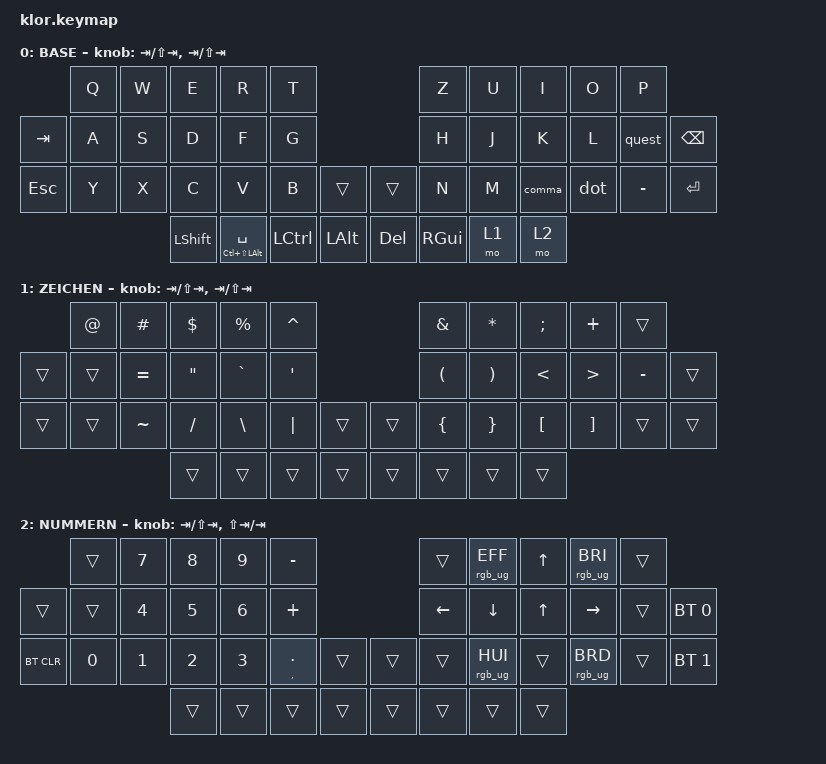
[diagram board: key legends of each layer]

//                               █         █    █            ▄▄▄▀▀▀▀▀▀▄▄▄        █▀▀▀▀▀▀▀▀▀▀█
//                               █        █     █          ▄▀            ▀▄      █          █
//                               █       █      █        ▄▀                ▀▄    █          █
//                               █      █       █        █                  █    █          █
//                               █     █        █       █                    █   █          █
//                               █    █         █       █                    █   █▄▄▄▄▄▄▄▄▄▄█
//                               █   █ █        █       █                    █   █      █
//                               █  █   █       █        █                  █    █       █
//                               █ █     █      █        ▀▄                ▄▀    █        █
//                               ██       █     █          ▀▄            ▄▀      █         █
//                               █         █    █▄▄▄▄▄▄▄▄    ▀▀▀▄▄▄▄▄▄▀▀▀        █          █
//
// ▄▄▄▄▄▄▄▄▄▄▄▄▄▄▄▄▄▄▄▄▄▄▄▄▄▄▄▄▄▄▄▄▄▄▄▄▄▄▄▄▄▄▄▄▄▄▄▄▄▄▄▄▄▄▄▄▄▄▄▄▄▄▄▄▄▄▄▄▄▄▄▄▄▄▄▄▄▄▄▄▄▄▄▄▄▄▄▄▄▄▄▄▄▄▄▄▄▄▄▄▄▄▄▄▄▄▄▄▄▄▄▄▄▄▄▄▄▄▄▄▄▄▄▄▄
       
#include <behaviors.dtsi>
#include <dt-bindings/zmk/keys.h>
#include <dt-bindings/zmk/bt.h>
#include <dt-bindings/zmk/outputs.h>
#include <dt-bindings/zmk/ext_power.h>
#include <dt-bindings/zmk/rgb.h>


#define BASE   0
#define LOWER  1
#define RAISE  2
#define ADJUST 3

&soft_off {
    hold-time-ms = <5000>; // Only turn off it the key is held for 5 seconds or longer.
};

/ {
    behaviors {
        hm: homerow_mods {
            compatible = "zmk,behavior-hold-tap";
            label = "HOMEROW_MODS";
            #binding-cells = <2>;
            tapping-term-ms = <320>;
            quick_tap_ms = <0>;
            flavor = "tap-preferred";
            bindings = <&kp>, <&kp>;
        };

        comma: comma_semi {
            compatible = "zmk,behavior-mod-morph";
            label = "comma_semi";
            #binding-cells = <0>;
            bindings = <&kp COMMA>, <&kp SEMI>;
            mods = <(MOD_LSFT)>;
        };

        dot: dot_colon {
            compatible = "zmk,behavior-mod-morph";
            label = "dot_colon";
            #binding-cells = <0>;
            bindings = <&kp DOT>, <&kp COLON>;
            mods = <(MOD_LSFT)>;
        };

        quest: question_excl {
            compatible = "zmk,behavior-mod-morph";
            label = "question_excl";
            #binding-cells = <0>;
            bindings = <&kp QUESTION>, <&kp EXCL>;
            mods = <(MOD_LSFT)>;
        };

        ctlalt: control_alt {
            compatible = "zmk,behavior-mod-morph";
            label = "control_alt";
            #binding-cells = <0>;
            bindings = <&kp LEFT_CONTROL>, <&kp LEFT_ALT>;
            mods = <(MOD_RGUI)>;
        };

        toadj: toadj {
            compatible = "zmk,behavior-mod-morph";
            label = "toadj";
            #binding-cells = <0>;
            bindings = <&mo 2>, <&to 3>;
            mods = <(MOD_LALT)>;
        };

    };

     combos {
            compatible = "zmk,combos";
            combo_esc {
                timeout-ms = <50>;
                key-positions = <0 1>;
                bindings = <&kp ESC>;
            };
    };



        keymap {
                compatible = "zmk,keymap";
// ▄▄▄▄▄▄▄▄▄▄▄▄▄▄▄▄▄▄▄▄▄▄▄▄▄▄▄▄▄▄▄▄▄▄▄▄▄▄▄▄▄▄▄▄▄▄▄▄▄▄▄▄▄▄▄▄▄▄▄▄▄▄▄▄▄▄▄▄▄▄▄▄▄▄▄▄▄▄▄▄▄▄▄▄▄▄▄▄▄▄▄▄▄▄▄▄▄▄▄▄▄▄▄▄▄▄▄▄▄▄▄▄▄▄▄▄▄▄▄▄▄▄▄▄▄▄▄▄▄▄▄▄▄▄▄▄▄▄▄▄▄▄


                base_layer {
// ┌───────────────────────────────────────────────────────────┐
label= "BASE"                                                  ;
// └───────────────────────────────────────────────────────────┘
/*           ┌─────────┬─────────┬─────────┬─────────┬─────────┐                    ┌─────────┬─────────┬─────────┬─────────┬─────────┐
             │    Q    │    W    │    E    │    R    │    T    │                    │    Z    │    U    │    I    │    O    │    P    │   
   ┌─────────┼─────────┼─────────┼─────────┼─────────┼─────────┤                    ├─────────┼─────────┼─────────┼─────────┼─────────┼─────────┐
   │   TAB   │    A    │    S    │    D    │    F    │    G    │                    │    H    │    J    │    K    │    L    │    ?    │    <-   │
   ├─────────┼─────────┼─────────┼─────────┼─────────┼─────────┤╭────────╮╭────────╮├─────────┼─────────┼─────────┼─────────┼─────────┼─────────┤
   │   ESC   │    Y    │    X    │    C    │    V    │    B    ││  TAB   ││  TAB   ││    N    │    M    │    ,    │    .    │    -    │   RET   │
   └─────────┴─────────┴─────────┼─────────┼─────────┼─────────┼╰────────╯╰────────╯┼─────────┼─────────┼─────────┼─────────┴─────────┴─────────┘
                                 │  LSHFT  │  SPACE  │  LCTRL  │   LALT  ││   DEL   │  RGUI   │   MO1   │   MO2   │  
                                 └─────────┴─────────┴─────────┴─────────┘└─────────┴─────────┴─────────┴─────────┘ */ 
 bindings = <
//╷         ╷         ╷         ╷         ╷                       ╷                       ╷           ╷╷         ╷            ╷             ╷         ╷          ╷          ╷         ╷
              &kp Q     &kp W     &kp E     &kp R                   &kp T                                          &kp Z        &kp U         &kp I     &kp O      &kp P
    &kp TAB   &kp A     &kp S     &kp D     &kp F                   &kp G                                          &kp H        &kp J         &kp K     &kp L      &quest     &kp BSPC
    &kp ESC   &kp Y     &kp X     &kp C     &kp V                   &kp B                   &trans       &trans    &kp N        &kp M         &comma    &dot       &kp MINUS  &kp RET
                                  &kp LSHFT &hm LC(LS(LALT)) SPACE  &kp LCTRL               &kp LALT     &kp DEL   &kp RGUI     &mo 1         &mo 2      
                        >;
            sensor-bindings = <&inc_dec_kp TAB LS(TAB) &inc_dec_kp TAB LS(TAB)>;
                };

// ▄▄▄▄▄▄▄▄▄▄▄▄▄▄▄▄▄▄▄▄▄▄▄▄▄▄▄▄▄▄▄▄▄▄▄▄▄▄▄▄▄▄▄▄▄▄▄▄▄▄▄▄▄▄▄▄▄▄▄▄▄▄▄▄▄▄▄▄▄▄▄▄▄▄▄▄▄▄▄▄▄▄▄▄▄▄▄▄▄▄▄▄▄▄▄▄▄▄▄▄▄▄▄▄▄▄▄▄▄▄▄▄▄▄▄▄▄▄▄▄▄▄▄▄▄▄▄▄▄▄▄▄▄▄▄▄▄▄▄▄▄▄


                lower_layer {
// ┌───────────────────────────────────────────────────────────┐
label= "ZEICHEN"                                               ;
// └───────────────────────────────────────────────────────────┘
 bindings = <
 //╷        ╷            ╷          ╷           ╷             ╷            ╷        ╷╷         ╷         ╷         ╷         ╷         ╷         ╷         ╷
             &kp AT_SIGN  &kp HASH   &kp DOLLAR  &kp PERCENT   &kp CARET                        &kp AMPS  &kp STAR  &kp SEMI  &kp PLUS  &trans
    &trans   &trans       &kp EQUAL  &kp DQT     &kp GRAVE     &kp SQT                          &kp LPAR  &kp RPAR  &kp LT    &kp GT    &kp MINUS &trans
    &trans   &trans       &kp TILDE  &kp SLASH   &kp BSLH      &kp PIPE     &trans    &trans    &kp LBRC  &kp RBRC  &kp LBKT  &kp RBKT  &trans    &trans
                                     &trans      &trans        &trans       &trans    &trans    &trans    &trans    &trans  
                        >;
            sensor-bindings = <&inc_dec_kp TAB LS(TAB) &inc_dec_kp TAB LS(TAB)>;
                };

// ▄▄▄▄▄▄▄▄▄▄▄▄▄▄▄▄▄▄▄▄▄▄▄▄▄▄▄▄▄▄▄▄▄▄▄▄▄▄▄▄▄▄▄▄▄▄▄▄▄▄▄▄▄▄▄▄▄▄▄▄▄▄▄▄▄▄▄▄▄▄▄▄▄▄▄▄▄▄▄▄▄▄▄▄▄▄▄▄▄▄▄▄▄▄▄▄▄▄▄▄▄▄▄▄▄▄▄▄▄▄▄▄▄▄▄▄▄▄▄▄▄▄▄▄▄


                raise_layer {
// ┌───────────────────────────────────────────────────────────┐
label= "NUMMERN"                                               ;
// └───────────────────────────────────────────────────────────┘
/*           ┌─────────┬─────────┬─────────┬─────────┬─────────┐                    ┌─────────┬─────────┬─────────┬─────────┬─────────┐
             │         │         │         │         │         │                    │         │         │    Ü    │         │         │
   ┌─────────┼─────────┼─────────┼─────────┼─────────┼─────────┤                    ├─────────┼─────────┼─────────┼─────────┼─────────┼─────────┐
   │    Ä    │         │    ß    │         │         │         │                    │         │         │         │         │    Ö    │         │
   ├─────────┼─────────┼─────────┼─────────┼─────────┼─────────┤╭────────╮╭────────╮├─────────┼─────────┼─────────┼─────────┼─────────┼─────────┤
   │         │         │         │         │         │         ││        ││        ││         │         │         │         │         │         │
   └─────────┴─────────┴─────────┼─────────┼─────────┼─────────┼╰────────╯╰────────╯┼─────────┼─────────┼─────────┼─────────┴─────────┴─────────┘
                                 │ ADJUST  │         │         │         ││         │         │         │         │  
                                 └─────────┴─────────┴─────────┴─────────┘└─────────┴─────────┴─────────┴─────────┘ */ 
 bindings = <
 //╷         ╷       ╷       ╷       ╷       ╷              ╷         ╷╷         ╷         ╷                 ╷       ╷                ╷         ╷         ╷
              &trans  &kp N7  &kp N8  &kp N9  &kp MINUS                           &trans    &rgb_ug RGB_EFF   &kp UP  &rgb_ug RGB_BRI  &trans         
    &trans    &trans  &kp N4  &kp N5  &kp N6  &kp PLUS                            &kp LEFT  &kp DOWN          &kp UP  &kp RIGHT        &trans    &bt BT_SEL 0  
    &bt BT_CLR    &kp N0  &kp N1  &kp N2  &kp N3  &mt COMMA DOT  &trans     &trans    &trans    &rgb_ug RGB_HUI   &trans  &rgb_ug RGB_BRD  &trans    &bt BT_SEL 1
                              &trans  &trans  &trans         &trans     &trans    &trans    &trans            &trans  
                        >;
                sensor-bindings = <&inc_dec_kp TAB LS(TAB) &inc_dec_kp LS(TAB) TAB>;
                };
};
